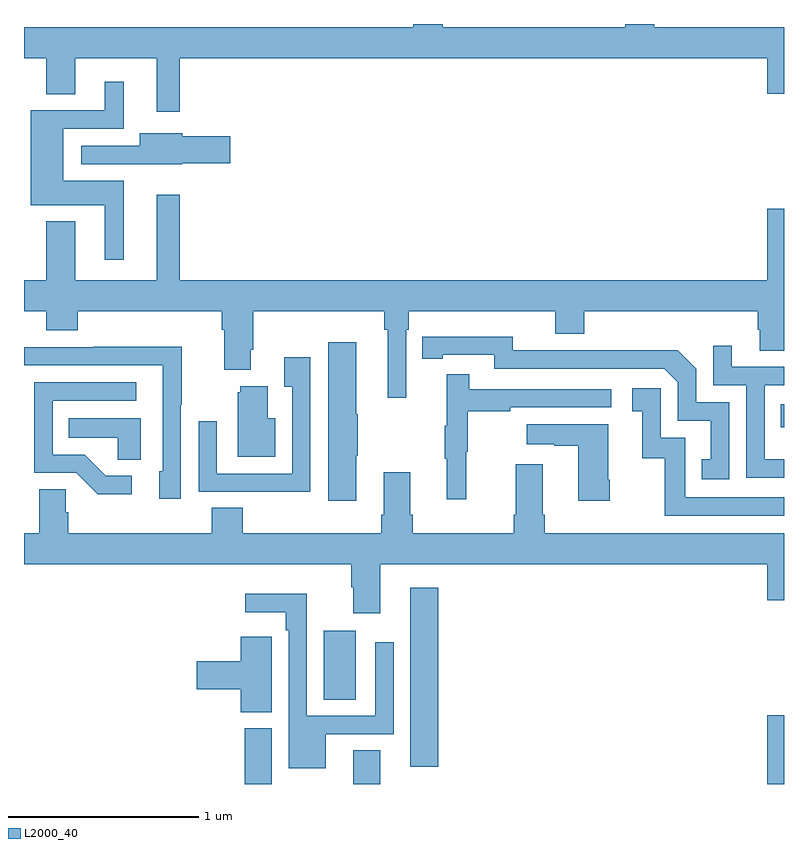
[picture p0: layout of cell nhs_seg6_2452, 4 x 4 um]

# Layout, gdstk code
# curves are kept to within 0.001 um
import gdstk
lib = gdstk.Library(unit=1e-6, precision=1e-09)
def R(c, l, rs):  # rectangles x0, y0, x1, y1
    for r in rs: c.add(gdstk.rectangle(r[:2], r[2:], *l))
def P(c, l, *ps):  # polygons
    for p in ps: c.add(gdstk.Polygon(p, *l))
L2000_40 = (2000, 40)

nhs_seg6_2452 = lib.new_cell('nhs_seg6_2452')
R(nhs_seg6_2452, L2000_40, [(258.161,959.5,258.304,959.793), (258.734,959.5,258.874,959.678), (260.912,959.5,261,959.863), (259.034,959.592,259.181,960.532), (258.578,959.944,258.745,960.307), (260.983,961.377,261,961.5)])
P(nhs_seg6_2452, L2000_40, [(257.821,963.32),(260.912,963.32),(260.912,963.132),(261,963.132),(261,963.484),(260.318,963.484),(260.318,963.5),(260.165,963.5),(260.165,963.484),(259.205,963.484),(259.205,963.5),(259.049,963.5),(259.049,963.484),(257,963.484),(257,963.32),(257.117,963.32),(257.117,963.13),(257.269,963.13),(257.269,963.32),(257.699,963.32),(257.699,963.039),(257.821,963.039)],
  [(257.524,962.674),(257.206,962.674),(257.206,962.949),(257.524,962.949),(257.524,963.196),(257.426,963.196),(257.426,963.045),(257.036,963.045),(257.036,962.546),(257.426,962.546),(257.426,962.259),(257.524,962.259)],
  [(257.832,962.768),(258.085,962.768),(258.085,962.91),(257.832,962.91),(257.832,962.926),(257.609,962.926),(257.609,962.859),(257.301,962.859),(257.301,962.763),(257.613,962.763),(257.613,962.762),(257.832,962.762)],
  [(257.821,962.602),(257.699,962.602),(257.699,962.152),(257.269,962.152),(257.269,962.461),(257.117,962.461),(257.117,962.152),(257,962.152),(257,961.988),(257.117,961.988),(257.117,961.889),(257.282,961.889),(257.282,961.988),(258.041,961.988),(258.041,961.892),(258.053,961.892),(258.053,961.679),(258.193,961.679),(258.193,961.786),(258.206,961.786),(258.206,961.988),(258.895,961.988),(258.895,961.892),(258.914,961.892),(258.914,961.533),(259.011,961.533),(259.011,961.892),(259.025,961.892),(259.025,961.988),(259.796,961.988),(259.796,961.871),(259.949,961.871),(259.949,961.988),(260.861,961.988),(260.861,961.89),(260.873,961.89),(260.873,961.78),(261,961.78),(261,962.527),(260.912,962.527),(260.912,962.152),(257.821,962.152)],
  [(260.712,961.509),(260.538,961.509),(260.538,961.686),(260.44,961.784),(260.032,961.784),(260.032,961.782),(259.572,961.782),(259.572,961.855),(259.096,961.854),(259.096,961.738),(259.204,961.738),(259.204,961.758),(259.476,961.758),(259.476,961.686),(260.37,961.686),(260.442,961.614),(260.442,961.413),(260.615,961.413),(260.615,961.209),(260.566,961.209),(260.566,961.104),(260.712,961.104)],
  [(258.748,961.228),(258.756,961.228),(258.756,961.445),(258.748,961.445),(258.748,961.825),(258.602,961.825),(258.602,960.99),(258.748,960.99)],
  [(261,961.21),(260.898,961.21),(260.898,961.599),(261,961.599),(261,961.695),(260.725,961.695),(260.725,961.807),(260.628,961.807),(260.628,961.599),(260.802,961.599),(260.802,961.113),(261,961.113)],
  [(257.826,961.495),(257.829,961.495),(257.829,961.802),(257.365,961.802),(257.365,961.8),(257,961.8),(257,961.704),(257.73,961.704),(257.73,961.146),(257.711,961.146),(257.711,961.002),(257.826,961.002)],
  [(258.507,961.747),(258.371,961.747),(258.371,961.591),(258.411,961.591),(258.411,961.134),(258.015,961.134),(258.015,961.408),(257.919,961.408),(257.919,961.038),(258.235,961.038),(258.235,961.037),(258.507,961.037)],
  [(259.328,961.248),(259.336,961.248),(259.336,961.462),(259.559,961.462),(259.559,961.482),(260.092,961.482),(260.092,961.578),(259.343,961.578),(259.343,961.657),(259.226,961.657),(259.226,961.385),(259.215,961.385),(259.215,961.211),(259.226,961.211),(259.226,960.999),(259.328,960.999)],
  [(257.566,961.122),(257.431,961.122),(257.32,961.233),(257.151,961.233),(257.151,961.518),(257.59,961.518),(257.59,961.614),(257.055,961.614),(257.055,961.137),(257.274,961.137),(257.387,961.025),(257.566,961.025)],
  [(258.322,961.426),(258.283,961.426),(258.283,961.594),(258.137,961.594),(258.137,961.563),(258.125,961.563),(258.125,961.223),(258.322,961.223)],
  [(261,961.008),(260.481,961.008),(260.481,961.323),(260.352,961.323),(260.352,961.582),(260.202,961.582),(260.202,961.461),(260.255,961.461),(260.255,961.215),(260.373,961.215),(260.373,960.912),(261,960.912)],
  [(257.614,961.426),(257.236,961.426),(257.236,961.322),(257.493,961.322),(257.493,961.207),(257.614,961.207)],
  [(260.082,961.102),(260.074,961.102),(260.074,961.393),(259.647,961.393),(259.647,961.289),(259.79,961.289),(259.79,961.279),(259.916,961.279),(259.916,960.99),(260.082,960.99)],
  [(258.152,960.953),(257.987,960.953),(257.987,960.82),(257.234,960.82),(257.234,960.929),(257.22,960.929),(257.22,961.052),(257.081,961.052),(257.081,960.82),(257,960.82),(257,960.656),(258.722,960.656),(258.722,960.536),(258.734,960.536),(258.734,960.399),(258.874,960.399),(258.874,960.656),(260.912,960.656),(260.912,960.468),(261,960.468),(261,960.82),(259.742,960.82),(259.742,960.916),(259.729,960.916),(259.729,961.183),(259.589,961.183),(259.589,960.916),(259.577,960.916),(259.577,960.82),(259.046,960.82),(259.046,960.916),(259.033,960.916),(259.033,961.141),(258.893,961.141),(258.893,960.916),(258.881,960.916),(258.881,960.82),(258.152,960.82)],
  [(258.589,959.763),(258.945,959.763),(258.945,960.247),(258.849,960.247),(258.849,959.859),(258.489,959.859),(258.489,960.502),(258.165,960.502),(258.165,960.404),(258.377,960.404),(258.377,960.308),(258.393,960.308),(258.393,959.582),(258.589,959.582)],
  [(258.304,960.161),(258.303,960.161),(258.303,960.274),(258.142,960.274),(258.142,960.146),(257.91,960.146),(257.91,959.999),(258.142,959.999),(258.142,959.878),(258.304,959.878)])

lib.write_gds('nhs_seg6_2452.gds')
